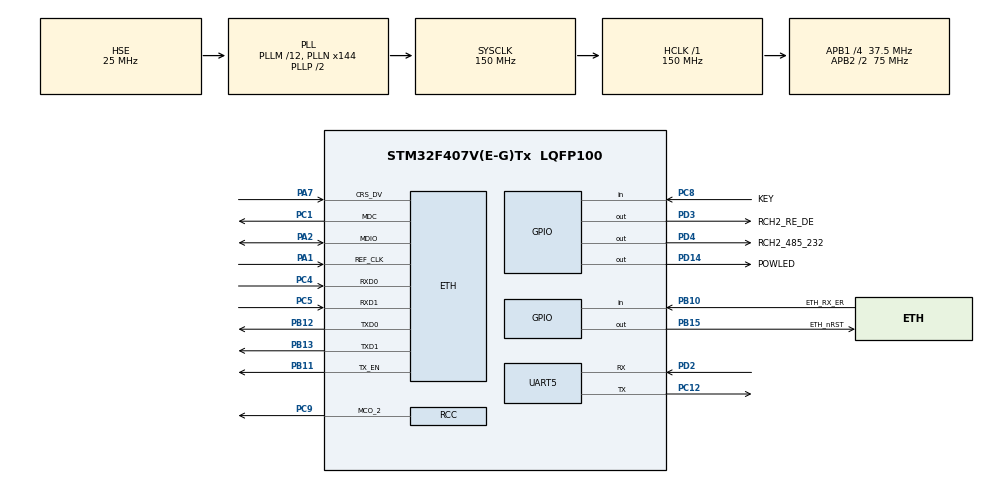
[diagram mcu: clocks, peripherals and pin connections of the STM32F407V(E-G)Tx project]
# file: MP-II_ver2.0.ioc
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Dma.Request0=UART5_TX
Dma.UART5_TX.0.Direction=DMA_MEMORY_TO_PERIPH
Dma.UART5_TX.0.FIFOMode=DMA_FIFOMODE_DISABLE
Dma.UART5_TX.0.Instance=DMA1_Stream7
Dma.UART5_TX.0.MemDataAlignment=DMA_MDATAALIGN_BYTE
Dma.UART5_TX.0.MemInc=DMA_MINC_ENABLE
Dma.UART5_TX.0.Mode=DMA_NORMAL
Dma.UART5_TX.0.PeriphDataAlignment=DMA_PDATAALIGN_BYTE
Dma.UART5_TX.0.PeriphInc=DMA_PINC_DISABLE
Dma.UART5_TX.0.Priority=DMA_PRIORITY_MEDIUM
ETH.MediaInterface=ETH_MEDIA_INTERFACE_RMII
ETH.PHY_Name_RMII=userPHY
ETH.PHY_User_Name=LAN8720
ETH.PhyAddress=0
LWIP.GATEWAY_ADDRESS=192.168.061.001
LWIP.IP_ADDRESS=192.168.061.099
LWIP.LWIP_DHCP=0
LWIP.NETMASK_ADDRESS=255.255.255.000
LWIP.Version=v2.0.3_Cube
Mcu.Family=STM32F4
Mcu.Name=STM32F407V(E-G)Tx
Mcu.Package=LQFP100
NVIC.DMA1_Stream7_IRQn=true\:0\:0\:false\:false\:true\:false
NVIC.PriorityGroup=NVIC_PRIORITYGROUP_4
NVIC.UART5_IRQn=true\:0\:0\:false\:false\:true\:true
PA1.Mode=RMII
PA1.Signal=ETH_REF_CLK
PA13.Mode=Serial_Wire
PA13.Signal=SYS_JTMS-SWDIO
PA14.Mode=Serial_Wire
PA14.Signal=SYS_JTCK-SWCLK
PA2.Mode=RMII
PA2.Signal=ETH_MDIO
PA7.Mode=RMII
PA7.Signal=ETH_CRS_DV
PB10.GPIO_Label=ETH_RX_ER
PB10.Signal=GPIO_Input
PB11.Mode=RMII
PB11.Signal=ETH_TX_EN
PB12.Mode=RMII
PB12.Signal=ETH_TXD0
PB13.Mode=RMII
PB13.Signal=ETH_TXD1
PB15.GPIO_Label=ETH_nRST
PB15.PinState=GPIO_PIN_SET
PB15.Signal=GPIO_Output
PC1.Mode=RMII
PC1.Signal=ETH_MDC
PC12.Mode=Asynchronous
PC12.Signal=UART5_TX
PC4.Mode=RMII
PC4.Signal=ETH_RXD0
PC5.Mode=RMII
PC5.Signal=ETH_RXD1
PC8.GPIO_Label=KEY
PC8.GPIO_PuPd=GPIO_PULLUP
PC8.Signal=GPIO_Input
PC9.Mode=Clock-out-2
PC9.Signal=RCC_MCO_2
PD14.GPIO_Label=POWLED
PD14.Signal=GPIO_Output
PD2.Mode=Asynchronous
PD2.Signal=UART5_RX
PD3.GPIO_Label=RCH2_RE_DE
PD3.Signal=GPIO_Output
PD4.GPIO_Label=RCH2_485_232
PD4.Signal=GPIO_Output
PH0-OSC_IN.Mode=HSE-External-Oscillator
PH0-OSC_IN.Signal=RCC_OSC_IN
PH1-OSC_OUT.Mode=HSE-External-Oscillator
PH1-OSC_OUT.Signal=RCC_OSC_OUT
ProjectManager.HeapSize=0x200
ProjectManager.StackSize=0x400
ProjectManager.TargetToolchain=EWARM
RCC.48MHZClocksFreq_Value=75000000
RCC.AHBFreq_Value=150000000
RCC.APB1CLKDivider=RCC_HCLK_DIV4
RCC.APB1Freq_Value=37500000
RCC.APB1TimFreq_Value=75000000
RCC.APB2CLKDivider=RCC_HCLK_DIV2
RCC.APB2Freq_Value=75000000
RCC.APB2TimFreq_Value=150000000
RCC.CortexFreq_Value=150000000
RCC.HCLKFreq_Value=150000000
RCC.HSE_VALUE=25000000
RCC.HSI_VALUE=16000000
RCC.LSE_VALUE=32768
RCC.PLLM=12
RCC.PLLN=144
RCC.PLLSourceVirtual=RCC_PLLSOURCE_HSE
RCC.RCC_MCO2Source=RCC_MCO2SOURCE_HSE
RCC.SYSCLKFreq_VALUE=150000000
RCC.SYSCLKSource=RCC_SYSCLKSOURCE_PLLCLK
RCC.VCOOutputFreq_Value=300000000
UART5.VirtualMode=Asynchronous
VP_LWIP_VS_Enabled.Mode=Enabled
board=custom

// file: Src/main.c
/**
  ******************************************************************************
  * @file           : main.c
  * @brief          : Main program body
  ******************************************************************************
  * This notice applies to any and all portions of this file
  * that are not between comment pairs USER CODE BEGIN and
  * USER CODE END. Other portions of this file, whether
  * inserted by the user or by software development tools
  * are owned by their respective copyright owners.
  *
  * Copyright (c) 2022 STMicroelectronics International N.V.
  * All rights reserved.
  *
  * Redistribution and use in source and binary forms, with or without
  * modification, are permitted, provided that the following conditions are met:
  *
  * 1. Redistribution of source code must retain the above copyright notice,
  *    this list of conditions and the following disclaimer.
  * 2. Redistributions in binary form must reproduce the above copyright notice,
  *    this list of conditions and the following disclaimer in the documentation
  *    and/or other materials provided with the distribution.
  * 3. Neither the name of STMicroelectronics nor the names of other
  *    contributors to this software may be used to endorse or promote products
  *    derived from this software without specific written permission.
  * 4. This software, including modifications and/or derivative works of this
  *    software, must execute solely and exclusively on microcontroller or
  *    microprocessor devices manufactured by or for STMicroelectronics.
  * 5. Redistribution and use of this software other than as permitted under
  *    this license is void and will automatically terminate your rights under
  *    this license.
  *
  * THIS SOFTWARE IS PROVIDED BY STMICROELECTRONICS AND CONTRIBUTORS "AS IS"
  * AND ANY EXPRESS, IMPLIED OR STATUTORY WARRANTIES, INCLUDING, BUT NOT
  * LIMITED TO, THE IMPLIED WARRANTIES OF MERCHANTABILITY, FITNESS FOR A
  * PARTICULAR PURPOSE AND NON-INFRINGEMENT OF THIRD PARTY INTELLECTUAL PROPERTY
  * RIGHTS ARE DISCLAIMED TO THE FULLEST EXTENT PERMITTED BY LAW. IN NO EVENT
  * SHALL STMICROELECTRONICS OR CONTRIBUTORS BE LIABLE FOR ANY DIRECT, INDIRECT,
  * INCIDENTAL, SPECIAL, EXEMPLARY, OR CONSEQUENTIAL DAMAGES (INCLUDING, BUT NOT
  * LIMITED TO, PROCUREMENT OF SUBSTITUTE GOODS OR SERVICES; LOSS OF USE, DATA,
  * OR PROFITS; OR BUSINESS INTERRUPTION) HOWEVER CAUSED AND ON ANY THEORY OF
  * LIABILITY, WHETHER IN CONTRACT, STRICT LIABILITY, OR TORT (INCLUDING
  * NEGLIGENCE OR OTHERWISE) ARISING IN ANY WAY OUT OF THE USE OF THIS SOFTWARE,
  * EVEN IF ADVISED OF THE POSSIBILITY OF SUCH DAMAGE.
  *
  ******************************************************************************
  */
#include "main.h"
#include "stm32f4xx_hal.h"
#include "lwip.h"

/* USER CODE BEGIN Includes */

#include "mb.h"
#include "mbtcp.h"

/* ----------------------- Defines ------------------------------------------*/
#define REG_INPUT_START         1000
#define REG_INPUT_NREGS         4
#define REG_HOLDING_START       2000
#define REG_HOLDING_NREGS       130

/* ----------------------- Static variables ---------------------------------*/
static USHORT   usRegInputStart = REG_INPUT_START;
static USHORT   usRegInputBuf[REG_INPUT_NREGS];
static USHORT   usRegHoldingStart = REG_HOLDING_START;
static USHORT   usRegHoldingBuf[REG_HOLDING_NREGS];

#define SYSTEMTICK_PERIOD_MS  10
static UCHAR Vendor[14] = "WVC 0.2 - dB14";

/* USER CODE END Includes */

UART_HandleTypeDef huart5;
DMA_HandleTypeDef hdma_uart5_tx;

/* USER CODE BEGIN PV */
/* Private variables ---------------------------------------------------------*/

/* USER CODE END PV */

void SystemClock_Config(void);
static void MX_GPIO_Init(void);
static void MX_DMA_Init(void);
static void MX_UART5_Init(void);

/* USER CODE BEGIN PFP */
/* Private function prototypes -----------------------------------------------*/

/* USER CODE END PFP */

/* USER CODE BEGIN 0 */

eMBErrorCode
eMBRegInputCB( UCHAR * pucRegBuffer, USHORT usAddress, USHORT usNRegs )
{
    eMBErrorCode    eStatus = MB_ENOERR;
    int             iRegIndex;

    usRegInputBuf[0] = (GPIOD->ODR & 0xF000);
    usRegInputBuf[0] = usRegInputBuf[0] >> 12;
    usRegInputBuf[1] = usRegInputBuf[0];

    if( ( usAddress >= REG_INPUT_START )
        && ( usAddress + usNRegs <= REG_INPUT_START + REG_INPUT_NREGS ) )
    {
        iRegIndex = ( int )( usAddress - usRegInputStart );
        while( usNRegs > 0 )
        {
            *pucRegBuffer++ = ( unsigned char )( usRegInputBuf[iRegIndex] >> 8 );
            *pucRegBuffer++ = ( unsigned char )( usRegInputBuf[iRegIndex] & 0xFF );
            iRegIndex++;
            usNRegs--;
        }
    }
    else
    {
        eStatus = MB_ENOREG;
    }
    return eStatus;
}

eMBErrorCode
eMBRegHoldingCB( UCHAR * pucRegBuffer, USHORT usAddress, USHORT usNRegs, eMBRegisterMode eMode )
{
    eMBErrorCode    eStatus = MB_ENOERR;
    int             iRegIndex;

    if( ( usAddress >= REG_HOLDING_START ) &&
        ( usAddress + usNRegs <= REG_HOLDING_START + REG_HOLDING_NREGS ) )
    {
        iRegIndex = ( int )( usAddress - usRegHoldingStart );
        switch ( eMode )
        {
            /* Pass current register values to the protocol stack. */
        case MB_REG_READ:
            while( usNRegs > 0 )
            {
                *pucRegBuffer++ = ( UCHAR ) ( usRegHoldingBuf[iRegIndex] >> 8 );
                *pucRegBuffer++ = ( UCHAR ) ( usRegHoldingBuf[iRegIndex] & 0xFF );
                iRegIndex++;
                usNRegs--;
            }
            break;

            /* Update current register values with new values from the
             * protocol stack. */
        case MB_REG_WRITE:
            while( usNRegs > 0 )
            {
                usRegHoldingBuf[iRegIndex] = *pucRegBuffer++ << 8;
                usRegHoldingBuf[iRegIndex] |= *pucRegBuffer++;
                iRegIndex++;
                usNRegs--;
            }
        }
    }
    else
    {
        eStatus = MB_ENOREG;
    }
    return eStatus;
}

eMBErrorCode
eMBRegCoilsCB( UCHAR * pucRegBuffer, USHORT usAddress, USHORT usNCoils, eMBRegisterMode eMode )
{
    return MB_ENOREG;
}

eMBErrorCode
eMBRegDiscreteCB( UCHAR * pucRegBuffer, USHORT usAddress, USHORT usNDiscrete )
{
    return MB_ENOREG;
}

// Для дебага и printf
#ifdef __GNUC_
#define PUTCHAR_PROTOTYPE int __io_putchar(int ch)
#else
#define PUTCHAR_PROTOTYPE int fputc(int ch, FILE *f)
#endif
PUTCHAR_PROTOTYPE
{
	HAL_UART_Transmit(&huart5, (uint8_t *)&ch, 1, 0xFFFF);
	return ch;
}

/* USER CODE END 0 */

int main(void)
{

  /* MCU Configuration----------------------------------------------------------*/

  /* Reset of all peripherals, Initializes the Flash interface and the Systick. */
  HAL_Init();

  /* Configure the system clock */
  SystemClock_Config();

  /* Initialize all configured peripherals */
  MX_GPIO_Init();
  MX_DMA_Init();
  MX_LWIP_Init();
  MX_UART5_Init();
  /* USER CODE BEGIN 2 */

 // Дебаггинг по uart5!!!(printf)
  HAL_GPIO_WritePin(RCH2_485_232_GPIO_Port, RCH2_485_232_Pin, 1);
  HAL_GPIO_WritePin(RCH2_RE_DE_GPIO_Port, RCH2_RE_DE_Pin, 1);

  eMBTCPInit(0);
  // включение модбаса

  eMBEnable();

  /*Establesco el Slave ID*/
  eMBSetSlaveID( MB_TCP_PSEUDO_ADDRESS, TRUE, Vendor, sizeof(Vendor) );

  /* USER CODE END 2 */

  /* Infinite loop */
  while (1)
  {

  /* USER CODE BEGIN 3 */

    //HAL_Delay(20);
    //HAL_GPIO_TogglePin(POWLED_GPIO_Port, POWLED_Pin);
    eMBPoll();
    MX_LWIP_Process();

  }
  /* USER CODE END 3 */

}

void SystemClock_Config(void)
{

  RCC_OscInitTypeDef RCC_OscInitStruct;
  RCC_ClkInitTypeDef RCC_ClkInitStruct;

    /**Configure the main internal regulator output voltage
    */
  __HAL_RCC_PWR_CLK_ENABLE();

  __HAL_PWR_VOLTAGESCALING_CONFIG(PWR_REGULATOR_VOLTAGE_SCALE1);

    /**Initializes the CPU, AHB and APB busses clocks
    */
  RCC_OscInitStruct.OscillatorType = RCC_OSCILLATORTYPE_HSE;
  RCC_OscInitStruct.HSEState = RCC_HSE_ON;
  RCC_OscInitStruct.PLL.PLLState = RCC_PLL_ON;
  RCC_OscInitStruct.PLL.PLLSource = RCC_PLLSOURCE_HSE;
  RCC_OscInitStruct.PLL.PLLM = 12;
  RCC_OscInitStruct.PLL.PLLN = 144;
  RCC_OscInitStruct.PLL.PLLP = RCC_PLLP_DIV2;
  RCC_OscInitStruct.PLL.PLLQ = 4;
  if (HAL_RCC_OscConfig(&RCC_OscInitStruct) != HAL_OK)
  {
    _Error_Handler(__FILE__, __LINE__);
  }

    /**Initializes the CPU, AHB and APB busses clocks
    */
  RCC_ClkInitStruct.ClockType = RCC_CLOCKTYPE_HCLK|RCC_CLOCKTYPE_SYSCLK
                              |RCC_CLOCKTYPE_PCLK1|RCC_CLOCKTYPE_PCLK2;
  RCC_ClkInitStruct.SYSCLKSource = RCC_SYSCLKSOURCE_PLLCLK;
  RCC_ClkInitStruct.AHBCLKDivider = RCC_SYSCLK_DIV1;
  RCC_ClkInitStruct.APB1CLKDivider = RCC_HCLK_DIV4;
  RCC_ClkInitStruct.APB2CLKDivider = RCC_HCLK_DIV2;

  if (HAL_RCC_ClockConfig(&RCC_ClkInitStruct, FLASH_LATENCY_4) != HAL_OK)
  {
    _Error_Handler(__FILE__, __LINE__);
  }

  HAL_RCC_MCOConfig(RCC_MCO2, RCC_MCO2SOURCE_HSE, RCC_MCODIV_1);

    /**Configure the Systick interrupt time
    */
  HAL_SYSTICK_Config(HAL_RCC_GetHCLKFreq()/1000);

    /**Configure the Systick
    */
  HAL_SYSTICK_CLKSourceConfig(SYSTICK_CLKSOURCE_HCLK);

  /* SysTick_IRQn interrupt configuration */
  HAL_NVIC_SetPriority(SysTick_IRQn, 0, 0);
}

/* UART5 init function */
static void MX_UART5_Init(void)
{

  huart5.Instance = UART5;
  huart5.Init.BaudRate = 115200;
  huart5.Init.WordLength = UART_WORDLENGTH_8B;
  huart5.Init.StopBits = UART_STOPBITS_1;
  huart5.Init.Parity = UART_PARITY_NONE;
  huart5.Init.Mode = UART_MODE_TX_RX;
  huart5.Init.HwFlowCtl = UART_HWCONTROL_NONE;
  huart5.Init.OverSampling = UART_OVERSAMPLING_16;
  if (HAL_UART_Init(&huart5) != HAL_OK)
  {
    _Error_Handler(__FILE__, __LINE__);
  }

}

static void MX_DMA_Init(void)
{
  /* DMA controller clock enable */
  __HAL_RCC_DMA1_CLK_ENABLE();

  /* DMA interrupt init */
  /* DMA1_Stream7_IRQn interrupt configuration */
  HAL_NVIC_SetPriority(DMA1_Stream7_IRQn, 0, 0);
  HAL_NVIC_EnableIRQ(DMA1_Stream7_IRQn);

}

/** Configure pins as
        * Analog
        * Input
        * Output
        * EVENT_OUT
        * EXTI
     PC9   ------> RCC_MCO_2
*/
static void MX_GPIO_Init(void)
{

  GPIO_InitTypeDef GPIO_InitStruct;

  /* GPIO Ports Clock Enable */
  __HAL_RCC_GPIOH_CLK_ENABLE();
  __HAL_RCC_GPIOC_CLK_ENABLE();
  __HAL_RCC_GPIOA_CLK_ENABLE();
  __HAL_RCC_GPIOB_CLK_ENABLE();
  __HAL_RCC_GPIOD_CLK_ENABLE();

  /*Configure GPIO pin Output Level */
  HAL_GPIO_WritePin(ETH_nRST_GPIO_Port, ETH_nRST_Pin, GPIO_PIN_SET);

  /*Configure GPIO pin Output Level */
  HAL_GPIO_WritePin(GPIOD, POWLED_Pin|RCH2_RE_DE_Pin|RCH2_485_232_Pin, GPIO_PIN_RESET);

  /*Configure GPIO pin : ETH_RX_ER_Pin */
  GPIO_InitStruct.Pin = ETH_RX_ER_Pin;
  GPIO_InitStruct.Mode = GPIO_MODE_INPUT;
  GPIO_InitStruct.Pull = GPIO_NOPULL;
  HAL_GPIO_Init(ETH_RX_ER_GPIO_Port, &GPIO_InitStruct);

  /*Configure GPIO pin : ETH_nRST_Pin */
  GPIO_InitStruct.Pin = ETH_nRST_Pin;
  GPIO_InitStruct.Mode = GPIO_MODE_OUTPUT_PP;
  GPIO_InitStruct.Pull = GPIO_NOPULL;
  GPIO_InitStruct.Speed = GPIO_SPEED_FREQ_LOW;
  HAL_GPIO_Init(ETH_nRST_GPIO_Port, &GPIO_InitStruct);

  /*Configure GPIO pins : POWLED_Pin RCH2_RE_DE_Pin RCH2_485_232_Pin */
  GPIO_InitStruct.Pin = POWLED_Pin|RCH2_RE_DE_Pin|RCH2_485_232_Pin;
  GPIO_InitStruct.Mode = GPIO_MODE_OUTPUT_PP;
  GPIO_InitStruct.Pull = GPIO_NOPULL;
  GPIO_InitStruct.Speed = GPIO_SPEED_FREQ_LOW;
  HAL_GPIO_Init(GPIOD, &GPIO_InitStruct);

  /*Configure GPIO pin : KEY_Pin */
  GPIO_InitStruct.Pin = KEY_Pin;
  GPIO_InitStruct.Mode = GPIO_MODE_INPUT;
  GPIO_InitStruct.Pull = GPIO_PULLUP;
  HAL_GPIO_Init(KEY_GPIO_Port, &GPIO_InitStruct);

  /*Configure GPIO pin : PC9 */
  GPIO_InitStruct.Pin = GPIO_PIN_9;
  GPIO_InitStruct.Mode = GPIO_MODE_AF_PP;
  GPIO_InitStruct.Pull = GPIO_NOPULL;
  GPIO_InitStruct.Speed = GPIO_SPEED_FREQ_LOW;
  GPIO_InitStruct.Alternate = GPIO_AF0_MCO;
  HAL_GPIO_Init(GPIOC, &GPIO_InitStruct);

}

void _Error_Handler(char *file, int line)
{
  while(1)
  {
  }
}

/************************ (C) COPYRIGHT STMicroelectronics *****END OF FILE****/
